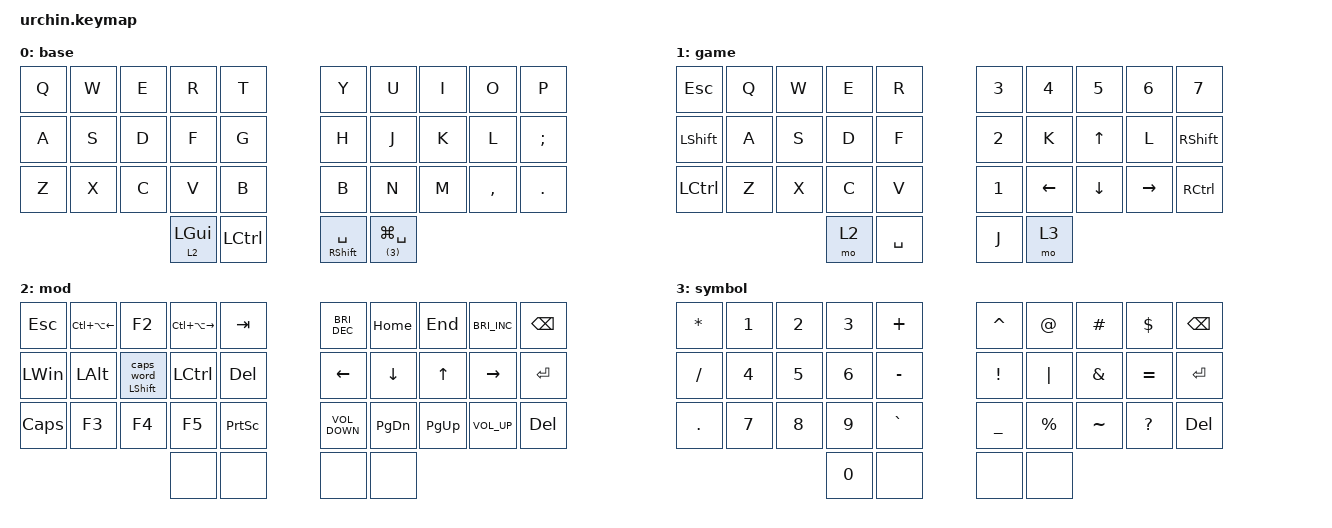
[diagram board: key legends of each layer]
/*
 * Copyright (c) 2020 duckyb
 *
 * SPDX-License-Identifier: MIT
 */

#include <behaviors.dtsi>
#include <dt-bindings/zmk/bt.h>
#include <dt-bindings/zmk/keys.h>

/ {
    combos {
        compatible = "zmk,combos";

        lbracket {
            bindings = <&kp LEFT_BRACKET>;
            key-positions = <10 11>;
            layers = <0>;
        };

        lbrace {
            bindings = <&kp LEFT_BRACE>;
            key-positions = <11 12>;
            layers = <0>;
        };

        lparen {
            bindings = <&kp LEFT_PARENTHESIS>;
            key-positions = <12 13>;
            layers = <0>;
        };

        rbracket {
            bindings = <&kp RIGHT_BRACKET>;
            key-positions = <19 18>;
            layers = <0>;
        };

        rbrace {
            bindings = <&kp RIGHT_BRACE>;
            key-positions = <18 17>;
            layers = <0>;
        };

        rparen {
            bindings = <&kp RIGHT_PARENTHESIS>;
            key-positions = <17 16>;
            layers = <0>;
        };

        backslash {
            bindings = <&kp BACKSLASH>;
            key-positions = <20 21>;
            layers = <0>;
        };

        langle {
            bindings = <&kp LESS_THAN>;
            key-positions = <21 22>;
            layers = <0>;
        };

        squote {
            bindings = <&kp SINGLE_QUOTE>;
            key-positions = <22 23>;
            layers = <0>;
        };

        dquote {
            bindings = <&kp DOUBLE_QUOTES>;
            key-positions = <26 27>;
            layers = <0>;
        };

        rangle {
            bindings = <&kp GREATER_THAN>;
            key-positions = <27 28>;
            layers = <0>;
        };

        slash {
            bindings = <&kp SLASH>;
            key-positions = <28 29>;
            layers = <0>;
        };

        game {
            bindings = <&tog 1>;
            key-positions = <30 33>;
            layers = <0 1>;
        };

        bt0 {
            bindings = <&bt BT_SEL 0>;
            key-positions = <30 31>;
            layers = <0>;
        };

        bt1 {
            bindings = <&bt BT_SEL 1>;
            key-positions = <32 33>;
            layers = <0>;
        };

        bt_clr {
            bindings = <&bt BT_CLR>;
            key-positions = <30 31 33 32>;
            layers = <0>;
        };
    };

    behaviors {
        auto_shift: auto_shift {
            compatible = "zmk,behavior-hold-tap";
            label = "AUTO_SHIFT";
            bindings = <&kp>, <&caps_word>;

            #binding-cells = <2>;
            tapping-term-ms = <200>;
        };
    };

    keymap {
        compatible = "zmk,keymap";

        base {
            bindings = <
&kp Q  &kp W  &kp E  &kp R           &kp T      &kp Y             &kp U              &kp I  &kp O      &kp P
&kp A  &kp S  &kp D  &kp F           &kp G      &kp H             &kp J              &kp K  &kp L      &kp SEMI
&kp Z  &kp X  &kp C  &kp V           &kp B      &kp B             &kp N              &kp M  &kp COMMA  &kp DOT
                     &lt 2 LEFT_GUI  &kp LCTRL  &mt RSHIFT SPACE  &lt (3) LG(SPACE)
            >;
        };

        game {
            bindings = <
&kp ESC    &kp Q  &kp W  &kp E  &kp R      &kp N3  &kp N4    &kp N5    &kp N6     &kp N7
&kp LSHFT  &kp A  &kp S  &kp D  &kp F      &kp N2  &kp K     &kp UP    &kp L      &kp RSHFT
&kp LCTRL  &kp Z  &kp X  &kp C  &kp V      &kp N1  &kp LEFT  &kp DOWN  &kp RIGHT  &kp RCTRL
                         &mo 2  &kp SPACE  &kp J   &mo 3
            >;
        };

        mod {
            bindings = <
&kp ESCAPE    &kp LC(LA(LEFT))  &kp F2               &kp LC(LA(RIGHT))  &kp TAB          &kp C_BRIGHTNESS_DEC  &kp HOME   &kp END    &kp C_BRIGHTNESS_INC  &kp BACKSPACE
&kp LEFT_WIN  &kp LALT          &auto_shift LSHFT 0  &kp LCTRL          &kp DELETE       &kp LEFT              &kp DOWN   &kp UP     &kp RIGHT             &kp RET
&kp CAPSLOCK  &kp F3            &kp F4               &kp F5             &kp PRINTSCREEN  &kp C_VOLUME_DOWN     &kp PG_DN  &kp PG_UP  &kp C_VOL_UP          &kp DELETE
                                                     &none              &none            &none                 &none
            >;
        };

        symbol {
            bindings = <
&kp ASTERISK  &kp N1  &kp N2  &kp N3  &kp PLUS   &kp CARET  &kp AT     &kp HASH   &kp DLLR   &kp BSPC
&kp SLASH     &kp N4  &kp N5  &kp N6  &kp MINUS  &kp EXCL   &kp PIPE   &kp AMPS   &kp EQUAL  &kp RET
&kp DOT       &kp N7  &kp N8  &kp N9  &kp GRAVE  &kp UNDER  &kp PRCNT  &kp TILDE  &kp QMARK  &kp DELETE
                              &kp N0  &none      &none      &none
            >;
        };
    };
};
